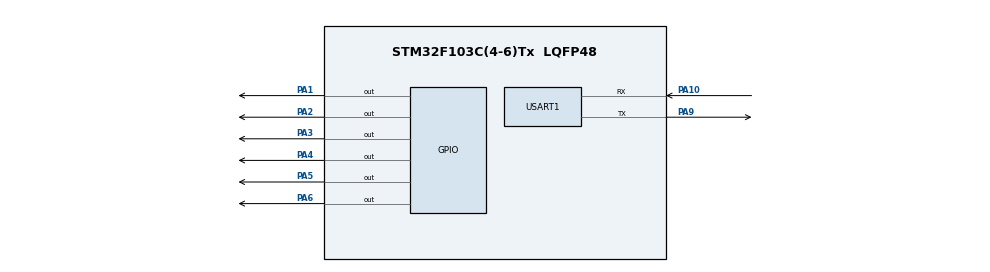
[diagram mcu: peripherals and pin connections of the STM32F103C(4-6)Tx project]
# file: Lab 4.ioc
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IWDG.Prescaler=IWDG_PRESCALER_32
Mcu.Family=STM32F1
Mcu.Name=STM32F103C(4-6)Tx
Mcu.Package=LQFP48
NVIC.PriorityGroup=NVIC_PRIORITYGROUP_4
NVIC.TIM2_IRQn=true\:0\:0\:false\:false\:true\:true\:true\:true
PA1.Signal=GPIO_Output
PA10.Mode=Asynchronous
PA10.Signal=USART1_RX
PA2.Signal=GPIO_Output
PA3.Signal=GPIO_Output
PA4.Signal=GPIO_Output
PA5.Signal=GPIO_Output
PA6.Signal=GPIO_Output
PA9.Mode=Asynchronous
PA9.Signal=USART1_TX
ProjectManager.HeapSize=0x200
ProjectManager.StackSize=0x400
ProjectManager.TargetToolchain=STM32CubeIDE
RCC.APB1Freq_Value=8000000
RCC.APB2Freq_Value=8000000
TIM2.Period=9
TIM2.Prescaler=7999
USART1.VirtualMode=VM_ASYNC
VP_IWDG_VS_IWDG.Mode=IWDG_Activate
VP_SYS_VS_ND.Mode=No_Debug
VP_TIM2_VS_ClockSourceINT.Mode=Internal
board=custom

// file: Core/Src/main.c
/* USER CODE BEGIN Header */
/**
  ******************************************************************************
  * @file           : main.c
  * @brief          : Main program body
  ******************************************************************************
  * @attention
  *
  * Copyright (c) 2025 STMicroelectronics.
  * All rights reserved.
  *
  * This software is licensed under terms that can be found in the LICENSE file
  * in the root directory of this software component.
  * If no LICENSE file comes with this software, it is provided AS-IS.
  *
  ******************************************************************************
  */
/* USER CODE END Header */
#include "main.h"

/* USER CODE BEGIN Includes */
#include <stdint.h>
#include "scheduler.h"
#include "tasks.h"
/* USER CODE END Includes */

IWDG_HandleTypeDef hiwdg;

TIM_HandleTypeDef htim2;

UART_HandleTypeDef huart1;

/* USER CODE BEGIN PV */
uint32_t systime = 0;

int LED_Pins[MAX_LED] = {
	GPIO_PIN_1, GPIO_PIN_2, GPIO_PIN_3, GPIO_PIN_4, GPIO_PIN_5, GPIO_PIN_6
};
/* USER CODE END PV */

void SystemClock_Config(void);
static void MX_GPIO_Init(void);
static void MX_TIM2_Init(void);
static void MX_USART1_UART_Init(void);
static void MX_IWDG_Init(void);
/* USER CODE BEGIN PFP */
void System_Initialization(void);
void turnOffLEDs(void);
/* USER CODE END PFP */

/* USER CODE BEGIN 0 */

void turnOffLEDs() {
	for (int i = 0; i < MAX_LED; i++) {
		HAL_GPIO_WritePin(GPIOA, LED_Pins[i], SET);
	}
}

void System_Initialization() {
	// optional
	turnOffLEDs();
}
/* USER CODE END 0 */

int main(void)
{

  /* MCU Configuration--------------------------------------------------------*/

  /* Reset of all peripherals, Initializes the Flash interface and the Systick. */
  HAL_Init();

  /* Configure the system clock */
  SystemClock_Config();

  /* Initialize all configured peripherals */
  MX_GPIO_Init();
  MX_TIM2_Init();
  MX_IWDG_Init();
  MX_USART1_UART_Init();
  /* USER CODE BEGIN 2 */

  	System_Initialization();
  	SCH_Init(); // <- Timer Interupt (htim2) start in here

  	SCH_Add_Task(oneShotLED, 0, 0);
  	SCH_Add_Task(led_500_ms, 0, 500);
  	SCH_Add_Task(led_1000_ms, 0, 1000);
  	SCH_Add_Task(led_1500_ms, 0, 1500);
  	SCH_Add_Task(led_2000_ms, 0, 2000);
  	SCH_Add_Task(led_2500_ms, 0, 2500);

//  SCH_Add_Task(oneShotLED, 0, 0);
//	SCH_Add_Task(led_500_ms, 0, 500);
//	SCH_Add_Task(led_1000_ms, 500, 1000);
//	SCH_Add_Task(led_1500_ms, 1500, 1500);
//	SCH_Add_Task(led_2000_ms, 3000, 2000);
//	SCH_Add_Task(led_2500_ms, 5000, 2500);

//  SCH_Add_Task(oneShotLED, 100, 100);
//	SCH_Add_Task(led_500_ms, 100, 100);
//	SCH_Add_Task(led_1000_ms, 100, 100);
//	SCH_Add_Task(led_1500_ms, 100, 100);
//	SCH_Add_Task(led_2000_ms, 100, 100);
//	SCH_Add_Task(led_2500_ms, 100, 100);

  	SCH_Add_Task(Watchdog_Task, 0, 100);
  	SCH_Add_Task(timeout_10ms, 0, 10);

  /* USER CODE END 2 */

  /* Infinite loop */
  while (1)
  {

    /* USER CODE BEGIN 3 */
	  SCH_Dispatch_Tasks();
  }
  /* USER CODE END 3 */
}

void SystemClock_Config(void)
{
  RCC_OscInitTypeDef RCC_OscInitStruct = {0};
  RCC_ClkInitTypeDef RCC_ClkInitStruct = {0};

  /** Initializes the RCC Oscillators according to the specified parameters
  * in the RCC_OscInitTypeDef structure.
  */
  RCC_OscInitStruct.OscillatorType = RCC_OSCILLATORTYPE_HSI|RCC_OSCILLATORTYPE_LSI;
  RCC_OscInitStruct.HSIState = RCC_HSI_ON;
  RCC_OscInitStruct.HSICalibrationValue = RCC_HSICALIBRATION_DEFAULT;
  RCC_OscInitStruct.LSIState = RCC_LSI_ON;
  RCC_OscInitStruct.PLL.PLLState = RCC_PLL_NONE;
  if (HAL_RCC_OscConfig(&RCC_OscInitStruct) != HAL_OK)
  {
    Error_Handler();
  }

  /** Initializes the CPU, AHB and APB buses clocks
  */
  RCC_ClkInitStruct.ClockType = RCC_CLOCKTYPE_HCLK|RCC_CLOCKTYPE_SYSCLK
                              |RCC_CLOCKTYPE_PCLK1|RCC_CLOCKTYPE_PCLK2;
  RCC_ClkInitStruct.SYSCLKSource = RCC_SYSCLKSOURCE_HSI;
  RCC_ClkInitStruct.AHBCLKDivider = RCC_SYSCLK_DIV1;
  RCC_ClkInitStruct.APB1CLKDivider = RCC_HCLK_DIV1;
  RCC_ClkInitStruct.APB2CLKDivider = RCC_HCLK_DIV1;

  if (HAL_RCC_ClockConfig(&RCC_ClkInitStruct, FLASH_LATENCY_0) != HAL_OK)
  {
    Error_Handler();
  }
}

static void MX_IWDG_Init(void)
{

  hiwdg.Instance = IWDG;
  hiwdg.Init.Prescaler = IWDG_PRESCALER_32;
  hiwdg.Init.Reload = 4095;
  if (HAL_IWDG_Init(&hiwdg) != HAL_OK)
  {
    Error_Handler();
  }

}

static void MX_TIM2_Init(void)
{

  TIM_ClockConfigTypeDef sClockSourceConfig = {0};
  TIM_MasterConfigTypeDef sMasterConfig = {0};

  htim2.Instance = TIM2;
  htim2.Init.Prescaler = 7999;
  htim2.Init.CounterMode = TIM_COUNTERMODE_UP;
  htim2.Init.Period = 9;
  htim2.Init.ClockDivision = TIM_CLOCKDIVISION_DIV1;
  htim2.Init.AutoReloadPreload = TIM_AUTORELOAD_PRELOAD_DISABLE;
  if (HAL_TIM_Base_Init(&htim2) != HAL_OK)
  {
    Error_Handler();
  }
  sClockSourceConfig.ClockSource = TIM_CLOCKSOURCE_INTERNAL;
  if (HAL_TIM_ConfigClockSource(&htim2, &sClockSourceConfig) != HAL_OK)
  {
    Error_Handler();
  }
  sMasterConfig.MasterOutputTrigger = TIM_TRGO_RESET;
  sMasterConfig.MasterSlaveMode = TIM_MASTERSLAVEMODE_DISABLE;
  if (HAL_TIMEx_MasterConfigSynchronization(&htim2, &sMasterConfig) != HAL_OK)
  {
    Error_Handler();
  }

}

static void MX_USART1_UART_Init(void)
{

  huart1.Instance = USART1;
  huart1.Init.BaudRate = 115200;
  huart1.Init.WordLength = UART_WORDLENGTH_8B;
  huart1.Init.StopBits = UART_STOPBITS_1;
  huart1.Init.Parity = UART_PARITY_NONE;
  huart1.Init.Mode = UART_MODE_TX_RX;
  huart1.Init.HwFlowCtl = UART_HWCONTROL_NONE;
  huart1.Init.OverSampling = UART_OVERSAMPLING_16;
  if (HAL_UART_Init(&huart1) != HAL_OK)
  {
    Error_Handler();
  }

}

static void MX_GPIO_Init(void)
{
  GPIO_InitTypeDef GPIO_InitStruct = {0};

  /* GPIO Ports Clock Enable */
  __HAL_RCC_GPIOA_CLK_ENABLE();

  /*Configure GPIO pin Output Level */
  HAL_GPIO_WritePin(GPIOA, GPIO_PIN_1|GPIO_PIN_2|GPIO_PIN_3|GPIO_PIN_4
                          |GPIO_PIN_5|GPIO_PIN_6, GPIO_PIN_RESET);

  /*Configure GPIO pins : PA1 PA2 PA3 PA4
                           PA5 PA6 */
  GPIO_InitStruct.Pin = GPIO_PIN_1|GPIO_PIN_2|GPIO_PIN_3|GPIO_PIN_4
                          |GPIO_PIN_5|GPIO_PIN_6;
  GPIO_InitStruct.Mode = GPIO_MODE_OUTPUT_PP;
  GPIO_InitStruct.Pull = GPIO_NOPULL;
  GPIO_InitStruct.Speed = GPIO_SPEED_FREQ_LOW;
  HAL_GPIO_Init(GPIOA, &GPIO_InitStruct);

}

/* USER CODE BEGIN 4 */
void HAL_TIM_PeriodElapsedCallback(TIM_HandleTypeDef *htim) {
	if (htim->Instance == TIM2) {
		SCH_Update();

//		char msg[50];
//		sprintf(msg, "System Time: %lu ms\r\n", get_time());
//		HAL_UART_Transmit(&huart1, (uint8_t*)msg, strlen(msg), HAL_MAX_DELAY);

//		systime += TICK_MS;
	}
}
/* USER CODE END 4 */

void Error_Handler(void)
{
  __disable_irq();
  while (1)
  {
  }
}
